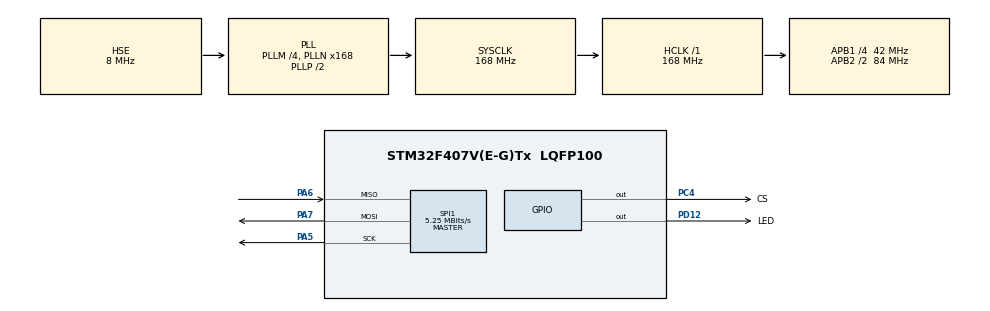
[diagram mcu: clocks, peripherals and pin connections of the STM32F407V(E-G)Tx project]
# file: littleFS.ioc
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Mcu.Family=STM32F4
Mcu.Name=STM32F407V(E-G)Tx
Mcu.Package=LQFP100
NVIC.PriorityGroup=NVIC_PRIORITYGROUP_4
PA13.Mode=Trace_Asynchronous_SW
PA13.Signal=SYS_JTMS-SWDIO
PA14.Mode=Trace_Asynchronous_SW
PA14.Signal=SYS_JTCK-SWCLK
PA5.Mode=Full_Duplex_Master
PA5.Signal=SPI1_SCK
PA6.Mode=Full_Duplex_Master
PA6.Signal=SPI1_MISO
PA7.Mode=Full_Duplex_Master
PA7.Signal=SPI1_MOSI
PB3.Mode=Trace_Asynchronous_SW
PB3.Signal=SYS_JTDO-SWO
PC4.GPIO_Label=CS
PC4.Signal=GPIO_Output
PD12.GPIO_Label=LED
PD12.Signal=GPIO_Output
PH0-OSC_IN.Mode=HSE-External-Oscillator
PH0-OSC_IN.Signal=RCC_OSC_IN
PH1-OSC_OUT.Mode=HSE-External-Oscillator
PH1-OSC_OUT.Signal=RCC_OSC_OUT
ProjectManager.HeapSize=0x200
ProjectManager.StackSize=0x400
ProjectManager.TargetToolchain=STM32CubeIDE
RCC.48MHZClocksFreq_Value=84000000
RCC.AHBFreq_Value=168000000
RCC.APB1CLKDivider=RCC_HCLK_DIV4
RCC.APB1Freq_Value=42000000
RCC.APB1TimFreq_Value=84000000
RCC.APB2CLKDivider=RCC_HCLK_DIV2
RCC.APB2Freq_Value=84000000
RCC.APB2TimFreq_Value=168000000
RCC.CortexFreq_Value=168000000
RCC.HCLKFreq_Value=168000000
RCC.HSE_VALUE=8000000
RCC.HSI_VALUE=16000000
RCC.LSE_VALUE=32768
RCC.PLLM=4
RCC.PLLN=168
RCC.PLLSourceVirtual=RCC_PLLSOURCE_HSE
RCC.SYSCLKFreq_VALUE=168000000
RCC.SYSCLKSource=RCC_SYSCLKSOURCE_PLLCLK
RCC.VCOOutputFreq_Value=336000000
SPI1.BaudRatePrescaler=SPI_BAUDRATEPRESCALER_16
SPI1.CalculateBaudRate=5.25 MBits/s
SPI1.Direction=SPI_DIRECTION_2LINES
SPI1.Mode=SPI_MODE_MASTER
SPI1.VirtualType=VM_MASTER
board=custom

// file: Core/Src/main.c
/* USER CODE BEGIN Header */
/**
 ******************************************************************************
 * @file           : main.c
 * @brief          : Main program body
 ******************************************************************************
 * @attention
 *
 * Copyright (c) 2025 STMicroelectronics.
 * All rights reserved.
 *
 * This software is licensed under terms that can be found in the LICENSE file
 * in the root directory of this software component.
 * If no LICENSE file comes with this software, it is provided AS-IS.
 *
 ******************************************************************************
 */
/* USER CODE END Header */
#include "main.h"
#include "spi.h"
#include "gpio.h"

/* USER CODE BEGIN Includes */
#include "w25q.h"
#include <stdio.h>
#include <string.h>
#include "littlefs_w25q_interface.h"
#include "lfs.h"
/* USER CODE END Includes */

void SystemClock_Config(void);

/* USER CODE BEGIN 0 */
int __io_putchar(int ch)
{
	ITM_SendChar(ch);

	return ch;
}
// Callbacks de hardware de ejemplo
static int32_t w25q_spi_init(void *user_ctx)
{
	MX_SPI1_Init();
	// Inicializar hardware SPI aquí
	printf("SPI inicializado\r\n");
	return 0;
}

static int32_t w25q_spi_write_read(void *user_ctx, const uint8_t *tx, uint8_t *rx, size_t len)
{
	int32_t ret = HAL_OK;
	// Implementar transferencia SPI aquí
	if(tx == NULL)
	{
		ret = HAL_SPI_Receive(&hspi1, rx, len, HAL_MAX_DELAY);
	}
	else if(rx == NULL)
	{
		ret = HAL_SPI_Transmit(&hspi1, tx, len, HAL_MAX_DELAY);
	}
	else
	{
		ret = HAL_SPI_TransmitReceive(&hspi1, tx, rx, len, HAL_MAX_DELAY);
	}

	return ret;
}

static void w25q_cs_control(void *user_ctx, bool level)
{
	HAL_GPIO_WritePin(CS_GPIO_Port, CS_Pin, level ? GPIO_PIN_RESET : GPIO_PIN_SET);
}

static void w25q_delay_ms(uint32_t ms)
{
	HAL_Delay(ms);
}

static void w25q_lock(void *user_ctx) {}
static void w25q_unlock(void *user_ctx) {}

static w25q_hw_t w25q_hw = {
		.spi_init = w25q_spi_init,
		.spi_write_read = w25q_spi_write_read,
		.cs_control = w25q_cs_control,
		.delay_ms = w25q_delay_ms,
		.lock = w25q_lock,
		.unlock = w25q_unlock
};

w25q_handle_t flash;

// variables used by the filesystem
lfs_t lfs;
lfs_file_t file;
struct lfs_config cfg;
char data[256];
/* USER CODE END 0 */

int main(void)
{

	/* USER CODE BEGIN 1 */
	w25q_config_t config = {
			.hw = &w25q_hw,
			.user_ctx = NULL,
			.timeout_ms = 5000,
			.software_cs = true
	};
	/* USER CODE END 1 */

	/* MCU Configuration--------------------------------------------------------*/

	/* Reset of all peripherals, Initializes the Flash interface and the Systick. */
	HAL_Init();

	/* Configure the system clock */
	SystemClock_Config();

	/* Initialize all configured peripherals */
	MX_GPIO_Init();
	MX_SPI1_Init();
	/* USER CODE BEGIN 2 */
	// Inicializar
	w25q_err_t ret = w25q_init(&flash, &config);
	if (ret != W25Q_OK) {
		printf("Error inicializando: %d\n\r", ret);
		return -1;
	}

	// Obtener información
	w25q_info_t info;
	w25q_get_info(&flash, &info);
	printf("Capacidad: %lu bytes\n\r", info.capacity_bytes);

	// Leer JEDEC ID
	uint8_t jedec_id[3];
	w25q_read_jedec_id(&flash, jedec_id);
	printf("JEDEC ID: %02X %02X %02X\n\r", jedec_id[0], jedec_id[1], jedec_id[2]);

	// Configure LittleFS for W25Q
	littlefs_w25q_config_t littlefs_cfg = {
			.flash_handle = &flash,
			.start_address = 0,                    // Start from beginning
			.total_size = info.capacity_bytes,              // Use 512KB for LittleFS
			.block_size = info.sector_size,        // 4096 bytes
			.block_count = info.num_sectors,    	// 128 blocks
			.read_size = 256,                      // Optimal for W25Q
			.prog_size = 256,                      // Optimal for W25Q
			.cache_size = 256,                     // Same as prog_size
			.lookahead_size = 16,                  // Default value
			.block_cycles = 500,                   // Wear leveling cycles
	};

	// Initialize LittleFS
	int err = littlefs_w25q_init(&littlefs_cfg, &lfs, &cfg);
	if (err != LFS_ERR_OK) {
		printf("Failed to initialize LittleFS: %d\n", err);
		return -1;
	}

	printf("LittleFS mounted successfully!\n");

	// Now you can use LittleFS operations

	// Example: Create and write to a file
	lfs_file_t file;
	// read current count
	uint32_t boot_count = 0;
	lfs_file_open(&lfs, &file, "boot_count", LFS_O_RDWR | LFS_O_CREAT);
	lfs_file_read(&lfs, &file, &boot_count, sizeof(boot_count));

	// update boot count
	boot_count += 1;
	lfs_file_rewind(&lfs, &file);
	lfs_file_write(&lfs, &file, &boot_count, sizeof(boot_count));

	// remember the storage is not updated until the file is closed successfully
	lfs_file_close(&lfs, &file);

	if(lfs_file_open(&lfs, &file, "marcaA/modeloA/config.json", LFS_O_RDONLY) == LFS_ERR_OK)
	{
		lfs_file_read(&lfs, &file, data, sizeof(data) - 1);
		printf("read data: %s\r\n", data);

		lfs_file_close(&lfs, &file);
	}

	if(lfs_file_open(&lfs, &file, "/www/index.html", LFS_O_RDONLY) == LFS_ERR_OK)
	{
		lfs_file_read(&lfs, &file, data, sizeof(data) - 1);
		printf("read data: %s\r\n", data);

		lfs_file_close(&lfs, &file);
	}

	if(lfs_file_open(&lfs, &file, "/image/Logo tecna peru.jpg", LFS_O_RDONLY) == LFS_ERR_OK)
	{
		printf("image found\r\n");

		lfs_file_close(&lfs, &file);
	}
	// release any resources we were using
	lfs_unmount(&lfs);

	// print the boot count
	printf("boot_count: %ld\n", boot_count);
	// Cleanup
	littlefs_w25q_deinit(&lfs);

	/* USER CODE END 2 */

	/* Infinite loop */
	while (1)
	{

		/* USER CODE BEGIN 3 */
		HAL_GPIO_TogglePin(LED_GPIO_Port, LED_Pin);
		HAL_Delay(100);
	}
	/* USER CODE END 3 */
}

void SystemClock_Config(void)
{
	RCC_OscInitTypeDef RCC_OscInitStruct = {0};
	RCC_ClkInitTypeDef RCC_ClkInitStruct = {0};

	/** Configure the main internal regulator output voltage
	 */
	__HAL_RCC_PWR_CLK_ENABLE();
	__HAL_PWR_VOLTAGESCALING_CONFIG(PWR_REGULATOR_VOLTAGE_SCALE1);

	/** Initializes the RCC Oscillators according to the specified parameters
	 * in the RCC_OscInitTypeDef structure.
	 */
	RCC_OscInitStruct.OscillatorType = RCC_OSCILLATORTYPE_HSE;
	RCC_OscInitStruct.HSEState = RCC_HSE_ON;
	RCC_OscInitStruct.PLL.PLLState = RCC_PLL_ON;
	RCC_OscInitStruct.PLL.PLLSource = RCC_PLLSOURCE_HSE;
	RCC_OscInitStruct.PLL.PLLM = 4;
	RCC_OscInitStruct.PLL.PLLN = 168;
	RCC_OscInitStruct.PLL.PLLP = RCC_PLLP_DIV2;
	RCC_OscInitStruct.PLL.PLLQ = 4;
	if (HAL_RCC_OscConfig(&RCC_OscInitStruct) != HAL_OK)
	{
		Error_Handler();
	}

	/** Initializes the CPU, AHB and APB buses clocks
	 */
	RCC_ClkInitStruct.ClockType = RCC_CLOCKTYPE_HCLK|RCC_CLOCKTYPE_SYSCLK
			|RCC_CLOCKTYPE_PCLK1|RCC_CLOCKTYPE_PCLK2;
	RCC_ClkInitStruct.SYSCLKSource = RCC_SYSCLKSOURCE_PLLCLK;
	RCC_ClkInitStruct.AHBCLKDivider = RCC_SYSCLK_DIV1;
	RCC_ClkInitStruct.APB1CLKDivider = RCC_HCLK_DIV4;
	RCC_ClkInitStruct.APB2CLKDivider = RCC_HCLK_DIV2;

	if (HAL_RCC_ClockConfig(&RCC_ClkInitStruct, FLASH_LATENCY_5) != HAL_OK)
	{
		Error_Handler();
	}
}

void Error_Handler(void)
{
	__disable_irq();
	while (1)
	{
	}
}
